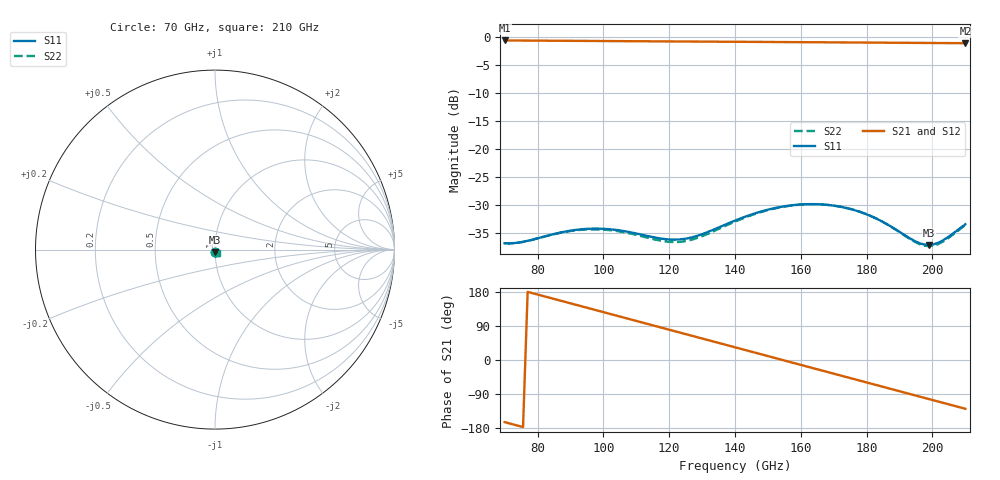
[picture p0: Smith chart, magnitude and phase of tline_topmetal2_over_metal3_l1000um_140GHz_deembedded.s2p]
! Created with skrf 2.2.0 (http://scikit-rf.org).
# GHz S DB R 50.0
! Port[1] = P1
! Port[2] = P2
!freq dBS11 angS11 dBS21 angS21 dBS12 angS12 dBS22 angS22
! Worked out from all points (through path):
!   101 points, 70 GHz to 210 GHz, reference 50 ohm
!   highest |S21| = -0.58 dB at 70 GHz (marker M1); lowest = -1.1 dB at 210 GHz (marker M2)
!   group delay of S21, straight-line fit = 6.45 ps
!   lowest |S11| = -37.0 dB at 198.8 GHz (marker M3), VSWR 1.03, Z = 49.8 - j1.39 ohm
!   |S11| at or under -10 dB: start of sweep to end of sweep
!   |S22| runs from -37.3 to -29.8 dB; largest |S21 - S12| = 1.6e-13
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70  -36.74 -93.7  -0.58 -163.9  -0.58 -163.9  -36.76 -94.0
75.6  -36.49 -86.7  -0.60 -176.9  -0.60 -176.9  -36.50 -87.1
81.2  -35.67 -83.6  -0.62 170.0  -0.62 170.0  -35.70 -84.2
86.8  -34.85 -84.5  -0.64 157.0  -0.64 157.0  -34.90 -85.4
93.8  -34.23 -89.0  -0.66 140.8  -0.66 140.8  -34.32 -90.1
100.8  -34.19 -94.3  -0.68 124.5  -0.68 124.5  -34.35 -95.3
106.4  -34.59 -97.5  -0.70 111.5  -0.70 111.5  -34.79 -98.5
112  -35.26 -97.9  -0.72 98.5  -0.72 98.5  -35.54 -98.9
117.6  -35.92 -94.3  -0.74 85.5  -0.74 85.5  -36.30 -94.7
123.2  -36.06 -86.9  -0.76 72.5  -0.76 72.5  -36.50 -86.4
128.8  -35.37 -79.3  -0.78 59.5  -0.78 59.5  -35.74 -77.8
140  -32.70 -75.3  -0.82 33.6  -0.82 33.6  -32.88 -73.2
147  -31.24 -79.9  -0.84 17.3  -0.84 17.3  -31.34 -77.9
152.6  -30.41 -85.7  -0.86 4.3  -0.86 4.3  -30.47 -83.9
163.8  -29.77 -100.0  -0.90 -21.7  -0.90 -21.7  -29.78 -98.5
169.4  -29.99 -107.4  -0.92 -34.7  -0.92 -34.7  -29.99 -106.1
176.4  -30.86 -115.7  -0.94 -50.9  -0.94 -50.9  -30.85 -114.7
187.6  -33.84 -121.1  -0.98 -76.9  -0.98 -76.9  -33.87 -120.7
194.6  -36.35 -110.5  -1.01 -93.1  -1.01 -93.1  -36.49 -110.3
198.8  -37.05 -95.7  -1.03 -102.8  -1.03 -102.8  -37.27 -95.1
203  -36.29 -80.3  -1.04 -112.5  -1.04 -112.5  -36.51 -79.0
210  -33.36 -68.1  -1.07 -128.8  -1.07 -128.8  -33.49 -66.4
